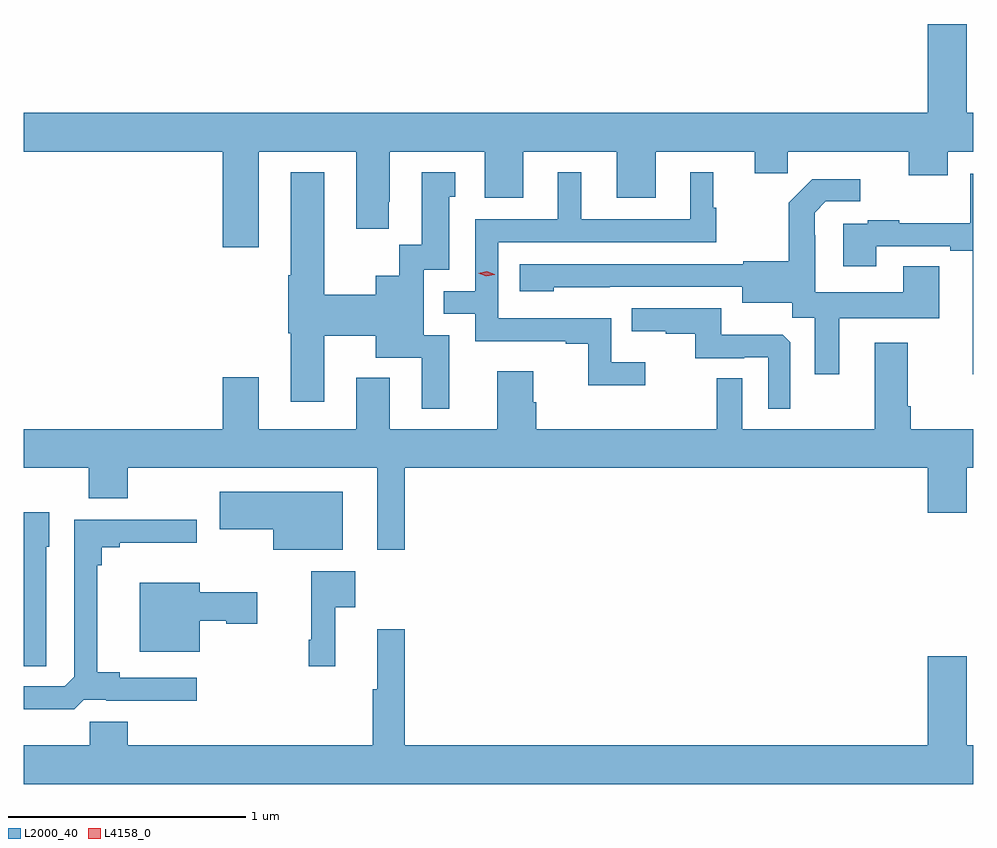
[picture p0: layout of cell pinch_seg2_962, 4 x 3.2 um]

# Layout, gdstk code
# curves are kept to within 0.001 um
import gdstk
lib = gdstk.Library(unit=1e-6, precision=1e-09)
def P(c, l, *ps):  # polygons
    for p in ps: c.add(gdstk.Polygon(p, *l))
L2000_40 = (2000, 40)
L4158_0 = (4158, 0)

pinch_seg2_962 = lib.new_cell('pinch_seg2_962')
P(pinch_seg2_962, L2000_40, [(210.139,658.292),(210.551,658.292),(210.551,657.969),(210.688,657.969),(210.688,658.081),(210.691,658.081),(210.691,658.292),(211.091,658.292),(211.091,658.098),(211.255,658.098),(211.255,658.292),(211.649,658.292),(211.649,658.098),(211.813,658.098),(211.813,658.292),(212.231,658.292),(212.231,658.202),(212.369,658.202),(212.369,658.292),(212.879,658.292),(212.879,658.193),(213.043,658.193),(213.043,658.292),(213.15,658.292),(213.15,658.456),(213.124,658.456),(213.124,658.831),(212.96,658.831),(212.96,658.456),(209.15,658.456),(209.15,658.292),(209.987,658.292),(209.987,657.891),(210.139,657.891)],
  [(211.768,657.406),(211.626,657.406),(211.626,657.591),(211.149,657.591),(211.149,657.912),(212.068,657.912),(212.068,658.056),(212.056,658.056),(212.056,658.207),(211.958,658.207),(211.958,658.008),(211.498,658.008),(211.498,658.207),(211.4,658.207),(211.4,658.008),(211.053,658.008),(211.053,657.705),(210.92,657.705),(210.92,657.609),(211.053,657.609),(211.053,657.495),(211.433,657.495),(211.433,657.483),(211.528,657.483),(211.528,657.308),(211.768,657.308)],
  [(210.943,657.519),(210.834,657.519),(210.834,657.795),(210.943,657.795),(210.943,658.104),(210.967,658.104),(210.967,658.207),(210.827,658.207),(210.827,657.9),(210.731,657.9),(210.731,657.769),(210.632,657.769),(210.632,657.689),(210.415,657.689),(210.415,658.207),(210.275,658.207),(210.275,657.772),(210.263,657.772),(210.263,657.528),(210.275,657.528),(210.275,657.24),(210.415,657.24),(210.415,657.517),(210.632,657.517),(210.632,657.425),(210.827,657.425),(210.827,657.21),(210.943,657.21)],
  [(213.15,658.2),(213.138,658.2),(213.138,657.992),(212.839,657.992),(212.839,658.003),(212.707,658.003),(212.707,657.99),(212.603,657.99),(212.603,657.81),(212.743,657.81),(212.743,657.894),(213.053,657.894),(213.053,657.876),(213.149,657.876),(213.149,657.354),(213.15,657.354)],
  [(212.587,657.59),(213.007,657.59),(213.007,657.809),(212.855,657.809),(212.855,657.7),(212.484,657.7),(212.484,657.941),(212.482,657.941),(212.482,658.036),(212.529,658.083),(212.674,658.083),(212.674,658.177),(212.473,658.177),(212.373,658.077),(212.373,657.832),(212.181,657.832),(212.181,657.819),(211.239,657.819),(211.239,657.704),(211.383,657.704),(211.383,657.722),(212.177,657.723),(212.177,657.656),(212.388,657.656),(212.388,657.592),(212.483,657.592),(212.483,657.354),(212.587,657.354)],
  [(212.379,657.489),(212.347,657.521),(212.089,657.521),(212.089,657.633),(211.711,657.633),(211.711,657.536),(211.855,657.536),(211.855,657.525),(211.979,657.525),(211.979,657.423),(212.186,657.423),(212.186,657.426),(212.286,657.426),(212.286,657.209),(212.379,657.209)],
  [(212.888,657.22),(212.875,657.22),(212.875,657.487),(212.735,657.487),(212.735,657.124),(212.178,657.124),(212.178,657.338),(212.07,657.338),(212.07,657.124),(211.31,657.124),(211.31,657.237),(211.297,657.237),(211.297,657.367),(211.145,657.367),(211.145,657.124),(210.691,657.124),(210.691,657.34),(210.551,657.34),(210.551,657.124),(210.139,657.124),(210.139,657.343),(209.987,657.343),(209.987,657.124),(209.15,657.124),(209.15,656.96),(209.423,656.96),(209.423,656.832),(209.587,656.832),(209.587,656.96),(210.638,656.96),(210.638,656.616),(210.755,656.616),(210.755,656.96),(212.96,656.96),(212.96,656.772),(213.124,656.772),(213.124,656.96),(213.15,656.96),(213.15,657.124),(212.888,657.124)],
  [(210.493,656.86),(209.976,656.86),(209.976,656.702),(210.2,656.702),(210.2,656.615),(210.493,656.615)],
  [(209.244,656.628),(209.257,656.628),(209.257,656.773),(209.15,656.773),(209.15,656.125),(209.244,656.125)],
  [(209.403,655.983),(209.497,655.983),(209.497,655.979),(209.878,655.979),(209.878,656.076),(209.554,656.076),(209.554,656.099),(209.459,656.099),(209.459,656.549),(209.477,656.549),(209.477,656.626),(209.554,656.626),(209.554,656.645),(209.878,656.645),(209.878,656.742),(209.361,656.742),(209.361,656.079),(209.322,656.04),(209.15,656.04),(209.15,655.944),(209.363,655.944)],
  [(210.461,656.372),(210.547,656.372),(210.547,656.524),(210.361,656.524),(210.361,656.236),(210.351,656.236),(210.351,656.124),(210.461,656.124)],
  [(209.89,656.315),(210.003,656.315),(210.003,656.303),(210.133,656.303),(210.133,656.437),(209.89,656.437),(209.89,656.476),(209.639,656.476),(209.639,656.186),(209.89,656.186)],
  [(213.15,655.792),(213.124,655.792),(213.124,656.167),(212.96,656.167),(212.96,655.792),(210.755,655.792),(210.755,656.281),(210.638,656.281),(210.638,656.028),(210.619,656.028),(210.619,655.792),(209.588,655.792),(209.588,655.89),(209.428,655.89),(209.428,655.792),(209.15,655.792),(209.15,655.628),(213.15,655.628)])
P(pinch_seg2_962, L4158_0, [(211.098,657.768),(211.065,657.781),(211.064,657.781),(211.065,657.781),(211.1,657.788),(211.134,657.776),(211.134,657.776),(211.134,657.775)])

lib.write_gds('pinch_seg2_962.gds')
